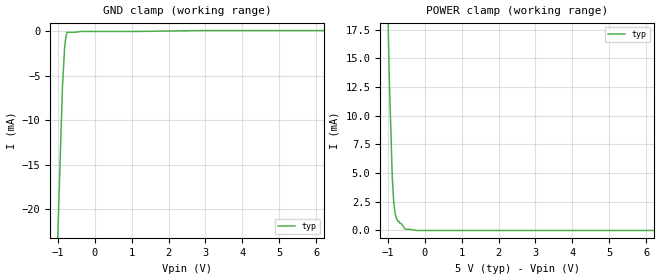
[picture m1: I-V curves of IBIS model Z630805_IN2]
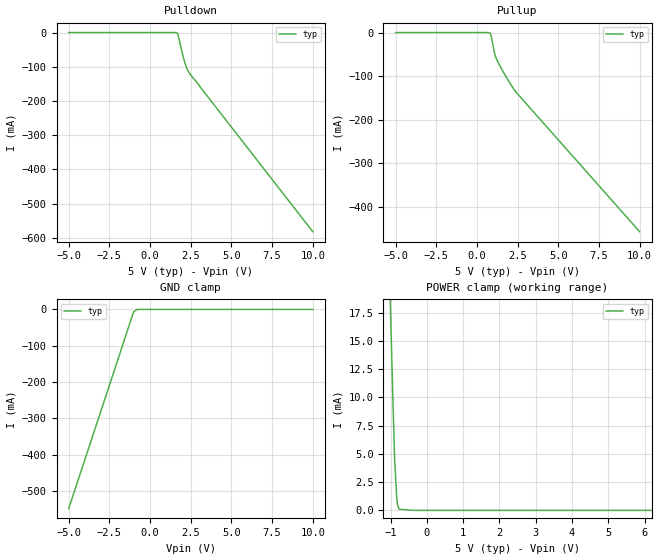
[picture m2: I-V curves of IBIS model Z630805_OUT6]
| YOU ARE ONLY AUTHORIZED TO USE THIS SOFTWARE
| ACCORDING TO LICENSOR'S LICENSE RESTRICTIONS.
[IBIS Ver] 3.1
[File Name] mc100ep16dt_50.ibs
[File Rev] 2
[Source] Derived from mc10ep16d_33.ibs Measured and created by ICX
|   Technology and pkg tline
[Date] 2/20/2004
[Copyright]
| (C) COPYRIGHT 1993-2000
| MENTOR GRAPHICS CORPORATION
| ICX STANDARD LIBRARY, ICX PROJECT MODELING,
| ICX CUSTOM MODELING, ICX VENDOR MODEL
| ALL RIGHTS RESERVED.
| THE FOLLOWING ARE TRADEMARKS OR SERVICE MARKS OF
| MENTOR GRAPHICS CORPORATION:ICX (R), ICX STANDARD
| LIBRARY(R), ICX PROJECT MODELING(R), ICX CUSTOM
| MODELING(R), qualityIBIS(TM), MODELVIEWER(TM),
| AND MODELEDITOR(TM)
| ALL COPIES OF SOFTWARE, INCLUDING BUT NOT LIMITED TO
| ANY MODIFICATIONS, ENHANCEMENTS OR DERIVATIVE WORKS,
| MUST CONTAIN ALL MENTOR GRAPHICS CORPORATION'S
| NOTICES AND LEGENDS, INCLUDING THOSE EMBEDDED IN
| SOFTWARE AND THOSE AFFIXED TO SOFTWARE MEDIUM
| AND CONTAINER, AS RECEIVED FROM MENTOR GRAPHICS
| CORPORATION.
|  ZAP Model Builder 2.8
[Component] MC100EP16DT_50
[Manufacturer] ON
[Package]
| variable   typ   min   max
R_pkg  .044ohms NA NA
L_pkg  1.82nH NA NA
C_pkg  .120pF NA NA
[Pin] signal_name  model_name  R_pin  L_pin C_pin
1 NC NC
2 D Z630805_IN2 .044 1.802n 2.083p
3 _D Z630805_IN2 .044 1.802n 2.083p
4 VBB POWER   .044 1.802n 2.083p
5 VEE GND   .044 1.802n 2.083p
6 _Q Z630805_OUT6 .044 1.802n 2.083p
7 Q Z630805_OUT6 .044 1.802n 2.083p
8 VCC POWER   .044 1.802n 2.083p
[Diff Pin] inv_pin vdiff tdelay_typ tdelay_min tdelay_max
2 3 150mv NA NA NA
7 6 NA NA NA NA
| Models and submodels in the file (2): Z630805_IN2 (Input_ECL), Z630805_OUT6 (Output_ECL)
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| (C) COPYRIGHT 1993-2000
| MENTOR GRAPHICS CORPORATION
| ICX STANDARD LIBRARY, ICX PROJECT MODELING,
| ICX CUSTOM MODELING, ICX VENDOR MODEL
| ALL RIGHTS RESERVED.
| THE FOLLOWING ARE TRADEMARKS OR SERVICE MARKS OF
| MENTOR GRAPHICS CORPORATION:ICX (R), ICX STANDARD
| LIBRARY(R), ICX PROJECT MODELING(R), ICX CUSTOM
| MODELING(R), qualityIBIS(TM), MODELVIEWER(TM),
| AND MODELEDITOR(TM)
| ALL COPIES OF SOFTWARE, INCLUDING BUT NOT LIMITED TO
| ANY MODIFICATIONS, ENHANCEMENTS OR DERIVATIVE WORKS,
| MUST CONTAIN ALL MENTOR GRAPHICS CORPORATION'S
| NOTICES AND LEGENDS, INCLUDING THOSE EMBEDDED IN
| SOFTWARE AND THOSE AFFIXED TO SOFTWARE MEDIUM
| AND CONTAINER, AS RECEIVED FROM MENTOR GRAPHICS
| CORPORATION.
| Model Application Version 1.89 2/18/99.
[Model] Z630805_IN2
Model_type Input_ECL
Vinl =3.375V
Vinh = 3.775V
C_comp 2.00pF NA NA
| variable typ   min   max
[Voltage Range] 5.000V NA NA
[GND Clamp Reference] 0.000V NA NA
[POWER Clamp Reference] 5.000V NA NA
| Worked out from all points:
|   GND clamp passes 1 mA (typ) near -0.79 V on its own axis
|   POWER clamp passes 1 mA (typ) near -0.75 V on its own axis
[GND Clamp]
-5V       -559.2mA   NA         NA
-953mV    -17.2mA    NA         NA
-871mV    -6.3mA     NA         NA
-811mV    -1.8mA     NA         NA
-790mV    -1mA       NA         NA
-749.8mV  -100uA     NA         NA
-552.3mV  -100uA     NA         NA
-354.8mV  0A         NA         NA
1.136V    0A         NA         NA
2.96V     100uA      NA         NA
10V       100uA      NA         NA
[POWER Clamp]
-5V       552.1mA    NA         NA
-1.058V   29mA       NA         NA
-957mV    13.4mA     NA         NA
-876mV    4.7mA      NA         NA
-835mV    2.4mA      NA         NA
-795mV    1.4mA      NA         NA
-754mV    1mA        NA         NA
-723.5mV  800uA      NA         NA
-632mV    600uA      NA         NA
-520.5mV  100uA      NA         NA
-204.5mV  0A         NA         NA
10V       0A         NA         NA
| (C) COPYRIGHT 1993-2000
| MENTOR GRAPHICS CORPORATION
| ICX STANDARD LIBRARY, ICX PROJECT MODELING,
| ICX CUSTOM MODELING, ICX VENDOR MODEL
| ALL RIGHTS RESERVED.
| THE FOLLOWING ARE TRADEMARKS OR SERVICE MARKS OF
| MENTOR GRAPHICS CORPORATION:ICX (R), ICX STANDARD
| LIBRARY(R), ICX PROJECT MODELING(R), ICX CUSTOM
| MODELING(R), qualityIBIS(TM), MODELVIEWER(TM),
| AND MODELEDITOR(TM)
| ALL COPIES OF SOFTWARE, INCLUDING BUT NOT LIMITED TO
| ANY MODIFICATIONS, ENHANCEMENTS OR DERIVATIVE WORKS,
| MUST CONTAIN ALL MENTOR GRAPHICS CORPORATION'S
| NOTICES AND LEGENDS, INCLUDING THOSE EMBEDDED IN
| SOFTWARE AND THOSE AFFIXED TO SOFTWARE MEDIUM
| AND CONTAINER, AS RECEIVED FROM MENTOR GRAPHICS
| CORPORATION.
| Model Application Version 1.89 2/18/99.
[Model] Z630805_OUT6
Model_type Output_ECL
Vref=3.000V
Rref=50.00ohms
Cref=0.000F
Vmeas=3.580V
C_comp 2.000pF NA NA
| variable typ   min   max
[Voltage Range] 5.000V NA NA
[POWER Clamp Reference] 5.000V NA NA
[Pullup Reference] 5.000V NA NA
[Pulldown Reference] 5.000V NA NA
[GND Clamp Reference] 0.000V NA NA
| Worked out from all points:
|   GND clamp passes 1 mA (typ) near -0.84 V on its own axis
|   POWER clamp passes 1 mA (typ) near -0.83 V on its own axis
[GND Clamp]
-5V       -548.2mA   NA         NA
-1.014V   -7.007mA   NA         NA
-811.2mV  0A         NA         NA
10V       0A         NA         NA
[Pulldown]
-5V       0A         NA         NA
1.638V    -600uA     NA         NA
1.719V    -6.5mA     NA         NA
2.043V    -72.9mA    NA         NA
2.185V    -95.2mA    NA         NA
2.286V    -107.5mA   NA         NA
2.408V    -117.9mA   NA         NA
10V       -582.3mA   NA         NA
[Pullup]
-5V       0A         NA         NA
711mV     0A         NA         NA
771mV     -400uA     NA         NA
812mV     -1.5mA     NA         NA
873mV     -7.3mA     NA         NA
1.075V    -46.2mA    NA         NA
1.136V    -54.4mA    NA         NA
1.237V    -63.7mA    NA         NA
1.521V    -84.2mA    NA         NA
2.008V    -114.9mA   NA         NA
2.352V    -134.5mA   NA         NA
10V       -456.4mA   NA         NA
[POWER Clamp]
-5V       511.5mA    NA         NA
-972mV    13.8mA     NA         NA
-891mV    4.5mA      NA         NA
-830mV    1mA        NA         NA
-810mV    500uA      NA         NA
-769mV    100uA      NA         NA
-384.5mV  0A         NA         NA
10V       0A         NA         NA
[Ramp]
| variable typ min max
dV/dt_r 348.9m/82.84p NA NA
dV/dt_f 348.9m/94.91p NA NA
R_load = 50.00Ohms
